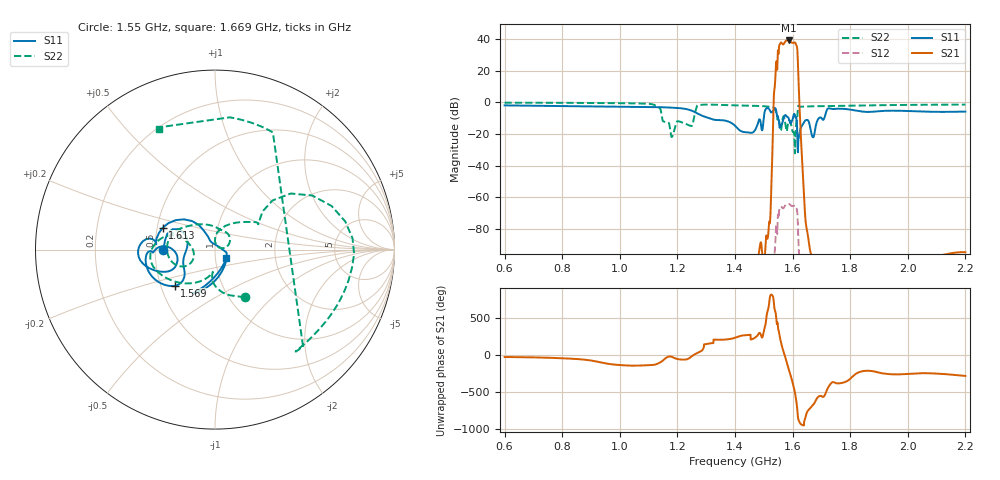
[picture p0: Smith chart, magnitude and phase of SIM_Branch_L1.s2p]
! Project 16: GNSS L1 + L2/L5 active antenna front end (RFMW-ANT)
! Generated by Scripts/simulate.py from Scripts/ds_data.py; format GHz / RI, Z0 = 50 ohm
! SIMULATED branch: L1 virtual RHCP input -> RF out (L2/L5 port of DXP in 50 ohm)
# GHz S RI R 50.0
!freq ReS11 ImS11 ReS21 ImS21 ReS12 ImS12 ReS22 ImS22
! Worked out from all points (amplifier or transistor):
!   3201 points, 600 MHz to 2.2 GHz, reference 50 ohm
!   highest |S21| = 39.0 dB at 1.586 GHz (marker M1)
!   |S21| within 3 dB of that: 1.554 GHz to 1.613 GHz (59.43 MHz wide, 3.75 % of centre)
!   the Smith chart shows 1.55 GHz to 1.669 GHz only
!   S11 on the Smith chart (normalised r, x): 1.55 GHz: 0.55, -0.00; 1.569 GHz: 0.59, -0.26; 1.613 GHz: 0.54, +0.15; 1.669 GHz: 1.13, -0.11
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0.6  0.6687 0.4285  2.48e-07 -1.48e-07  -5.56e-10 1.68e-10  -0.0213 0.9658
0.867  0.675 -0.3125  4.19e-07 -8.05e-07  -1.01e-12 6.19e-11  0.2577 0.9155
1.1335  0.1852 -0.6738  -6.56e-08 -1.28e-07  2.56e-10 5.01e-10  -0.3241 -0.6252
1.4  0.1542 -0.0954  -9.9e-07 -1.12e-06  7.55e-12 8.54e-12  0.1965 -0.7697
1.541  -0.6054 -0.1083  -7.548 -4.071  8.24e-06 5.39e-05  0.3761 -0.4491
1.5505  -0.2923 -0.00379  29.27 -16.8  -0.000199 -8.78e-05  0.1661 -0.2643
1.561  -0.1761 -0.0854  -62.39 44.47  0.000475 0.000163  -0.0292 -0.1453
1.565  -0.1725 -0.1566  5.553 68.82  0.000349 -0.000292  -0.2224 -0.1784
1.5685  -0.2254 -0.2018  49.49 46.71  6.5e-05 -0.000446  -0.3553 -0.0719
1.573  -0.352 -0.1484  76.5 -18.67  -0.000393 -0.000348  -0.2527 0.0793
1.578  -0.3689 -0.0105  12.85 -87.82  -0.000536 0.000262  -0.132 0.0165
1.5815  -0.3457 -0.0161  -54.21 -70.31  -0.000188 0.000569  -0.1323 -0.0715
1.586  -0.3137 0.0131  -89.05 8.251  0.000383 0.000472  -0.2475 -0.0589
1.592  -0.2156 -0.0241  -6.028 83.19  0.000499 -0.000279  -0.2206 0.1033
1.598  -0.2325 -0.1076  73.11 18.95  -0.000165 -0.000495  -0.0365 0.1378
1.6035  -0.3874 -0.0902  29.43 -69.87  -0.000521 8.93e-05  0.0687 0.0909
1.613  -0.2911 0.1222  -7.644 63.86  0.000411 -0.000193  0.1777 0.1543
1.6215  0.0653 -0.0423  -2.425 -0.598  5.35e-06 1.7e-05  0.7222 -0.2283
1.667  0.0531 -0.072  1.17e-05 6.58e-06  3.51e-12 -1.05e-10  -0.301 0.6788
1.669  0.064 -0.0492  9.47e-06 7.28e-06  1.3e-11 -8.7e-11  -0.3143 0.6734
1.9335  -0.4576 0.2833  -2.18e-06 1.25e-05  1.43e-10 -2.55e-12  -0.7588 0.2863
2.2  -0.1527 0.4833  4.68e-06 1.76e-05  2.77e-10 -3.8e-11  -0.4392 0.7175
